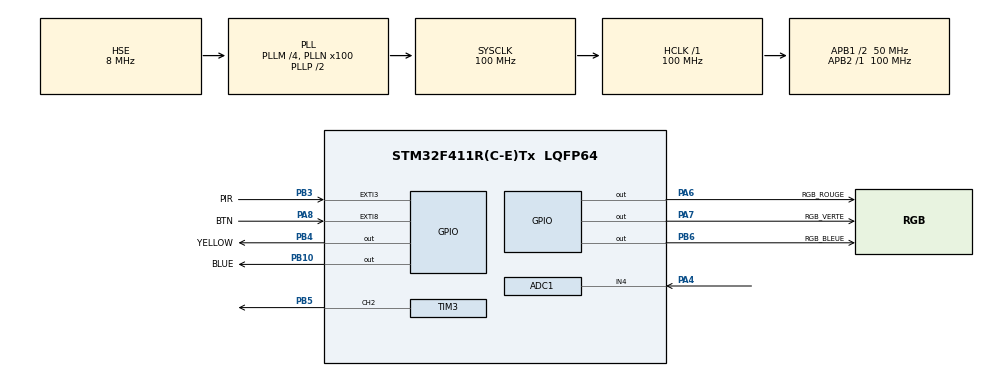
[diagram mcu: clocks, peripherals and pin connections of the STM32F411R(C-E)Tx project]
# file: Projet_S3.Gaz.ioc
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ADC1.Channel-0\#ChannelRegularConversion=ADC_CHANNEL_4
ADC1.ExternalTrigConv=ADC_EXTERNALTRIGCONV_T2_TRGO
ADC1.NbrOfConversionFlag=1
ADC1.Rank-0\#ChannelRegularConversion=1
ADC1.SamplingTime-0\#ChannelRegularConversion=ADC_SAMPLETIME_480CYCLES
ADC1.master=1
Mcu.Family=STM32F4
Mcu.Name=STM32F411R(C-E)Tx
Mcu.Package=LQFP64
NVIC.EXTI3_IRQn=true\:0\:0\:false\:false\:true\:true\:true\:true
NVIC.EXTI9_5_IRQn=true\:0\:0\:false\:false\:true\:true\:true\:true
NVIC.PriorityGroup=NVIC_PRIORITYGROUP_4
NVIC.TIM2_IRQn=true\:0\:0\:false\:false\:true\:true\:true\:true
NVIC.TIM5_IRQn=true\:0\:0\:false\:false\:true\:true\:true\:true
PA13.Mode=Serial_Wire
PA13.Signal=SYS_JTMS-SWDIO
PA14.Mode=Serial_Wire
PA14.Signal=SYS_JTCK-SWCLK
PA4.Signal=ADCx_IN4
PA6.GPIO_Label=RGB_ROUGE
PA6.GPIO_PuPd=GPIO_PULLDOWN
PA6.Signal=GPIO_Output
PA7.GPIO_Label=RGB_VERTE
PA7.GPIO_PuPd=GPIO_PULLDOWN
PA7.Signal=GPIO_Output
PA8.GPIO_Label=BTN
PA8.GPIO_ModeDefaultEXTI=GPIO_MODE_IT_FALLING
PA8.GPIO_PuPd=GPIO_PULLDOWN
PA8.Signal=GPXTI8
PB10.GPIO_Label=BLUE
PB10.Signal=GPIO_Output
PB3.GPIO_Label=PIR
PB3.GPIO_ModeDefaultEXTI=GPIO_MODE_IT_RISING
PB3.GPIO_PuPd=GPIO_PULLDOWN
PB3.Signal=GPXTI3
PB4.GPIO_Label=YELLOW
PB4.GPIO_PuPd=GPIO_PULLDOWN
PB4.Signal=GPIO_Output
PB5.Signal=S_TIM3_CH2
PB6.GPIO_Label=RGB_BLEUE
PB6.GPIO_PuPd=GPIO_PULLDOWN
PB6.Signal=GPIO_Output
PH0\ -\ OSC_IN.Mode=HSE-External-Oscillator
PH0\ -\ OSC_IN.Signal=RCC_OSC_IN
PH1\ -\ OSC_OUT.Mode=HSE-External-Oscillator
PH1\ -\ OSC_OUT.Signal=RCC_OSC_OUT
ProjectManager.HeapSize=0x200
ProjectManager.StackSize=0x400
ProjectManager.TargetToolchain=STM32CubeIDE
RCC.48MHZClocksFreq_Value=50000000
RCC.AHBFreq_Value=100000000
RCC.APB1CLKDivider=RCC_HCLK_DIV2
RCC.APB1Freq_Value=50000000
RCC.APB1TimFreq_Value=100000000
RCC.APB2Freq_Value=100000000
RCC.APB2TimFreq_Value=100000000
RCC.CortexFreq_Value=100000000
RCC.HCLKFreq_Value=100000000
RCC.HSE_VALUE=8000000
RCC.HSI_VALUE=16000000
RCC.LSE_VALUE=32768
RCC.PLLM=4
RCC.PLLN=100
RCC.PLLSourceVirtual=RCC_PLLSOURCE_HSE
RCC.SYSCLKFreq_VALUE=100000000
RCC.SYSCLKSource=RCC_SYSCLKSOURCE_PLLCLK
RCC.VCOOutputFreq_Value=200000000
SH.ADCx_IN4.0=ADC1_IN4,IN4
SH.S_TIM3_CH2.0=TIM3_CH2,PWM Generation2 CH2
TIM2.Period=20000-1
TIM2.Prescaler=10000-1
TIM2.TIM_MasterOutputTrigger=TIM_TRGO_UPDATE
TIM3.Channel-PWM\ Generation2\ CH2=TIM_CHANNEL_2
TIM3.Period=22728
TIM3.Prescaler=10-1
TIM3.Pulse-PWM\ Generation2\ CH2=11364-1
TIM5.Period=500-1
TIM5.Prescaler=10000-1
VP_TIM2_VS_ClockSourceINT.Mode=Internal
VP_TIM3_VS_ClockSourceINT.Mode=Internal
VP_TIM5_VS_ClockSourceINT.Mode=Internal
board=custom

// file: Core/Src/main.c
/* USER CODE BEGIN Header */
/**
  ******************************************************************************
  * @file           : main.c
  * @brief          : Main program body
  ******************************************************************************
  * @attention
  *
  * Copyright (c) 2026 STMicroelectronics.
  * All rights reserved.
  *
  * This software is licensed under terms that can be found in the LICENSE file
  * in the root directory of this software component.
  * If no LICENSE file comes with this software, it is provided AS-IS.
  *
  ******************************************************************************
  */
/* USER CODE END Header */
#include "main.h"
#include "adc.h"
#include "tim.h"
#include "gpio.h"

/* USER CODE BEGIN Includes */
#include "stdbool.h"
/* USER CODE END Includes */

/* USER CODE BEGIN PD */
#define HOME true
#define AWAY false

#define FREQ_TIM5 20
#define FREQ_BLINK_ALARM_GAZ 4
#define FREQ_BLINK_ALARM_INTRUSION 2
#define SEUIL_GAZ 3000

/* USER CODE END PD */

/* USER CODE BEGIN PV */
volatile bool mode = HOME;
volatile bool buzzer = false;
volatile bool falling_edge_detected = false;
volatile bool presence_detectee = false;
volatile bool alarme_gaz = false;
volatile bool alarme_intrusion = false;
volatile bool bouton_appuye = false;
volatile int blink_counter_alarm_gaz = 0;
volatile int blink_counter_alarm_intrusion = 0;
volatile int gaz_value = 0;

/* USER CODE END PV */

void SystemClock_Config(void);

int main(void)
{

  /* MCU Configuration--------------------------------------------------------*/

  /* Reset of all peripherals, Initializes the Flash interface and the Systick. */
  HAL_Init();

  /* Configure the system clock */
  SystemClock_Config();

  /* Initialize all configured peripherals */
  MX_GPIO_Init();
  MX_TIM2_Init();
  MX_TIM3_Init();
  MX_TIM5_Init();
  MX_ADC1_Init();
  /* USER CODE BEGIN 2 */
  HAL_TIM_Base_Start_IT(&htim5);
  HAL_TIM_Base_Start_IT(&htim2);
  HAL_TIM_PWM_Start(&htim3, TIM_CHANNEL_2);
  HAL_ADC_Start(&hadc1);
  /* USER CODE END 2 */

  /* Infinite loop */
  while (1)
  {

    /* USER CODE BEGIN 3 */

	// Machine à état avec HOME et AWAY
	if (mode == HOME) {
		if(bouton_appuye) {
			bouton_appuye = false;
			mode = AWAY;
		}
	}
	if ( mode == AWAY) {
		if(bouton_appuye) {
			bouton_appuye = false;
			mode = HOME;
			alarme_intrusion = false;
			buzzer = false;
			HAL_GPIO_WritePin(YELLOW_GPIO_Port, YELLOW_Pin, 0);
		}
		if (presence_detectee) {
			alarme_intrusion = true;
			presence_detectee = false;
		}
	}

	if (buzzer) {
		HAL_TIM_PWM_Start(&htim3, TIM_CHANNEL_2);
	} else {
		HAL_TIM_PWM_Stop(&htim3, TIM_CHANNEL_2);
	}
  }

  /* USER CODE END 3 */
}

void SystemClock_Config(void)
{
  RCC_OscInitTypeDef RCC_OscInitStruct = {0};
  RCC_ClkInitTypeDef RCC_ClkInitStruct = {0};

  /** Configure the main internal regulator output voltage
  */
  __HAL_RCC_PWR_CLK_ENABLE();
  __HAL_PWR_VOLTAGESCALING_CONFIG(PWR_REGULATOR_VOLTAGE_SCALE1);

  /** Initializes the RCC Oscillators according to the specified parameters
  * in the RCC_OscInitTypeDef structure.
  */
  RCC_OscInitStruct.OscillatorType = RCC_OSCILLATORTYPE_HSE;
  RCC_OscInitStruct.HSEState = RCC_HSE_ON;
  RCC_OscInitStruct.PLL.PLLState = RCC_PLL_ON;
  RCC_OscInitStruct.PLL.PLLSource = RCC_PLLSOURCE_HSE;
  RCC_OscInitStruct.PLL.PLLM = 4;
  RCC_OscInitStruct.PLL.PLLN = 100;
  RCC_OscInitStruct.PLL.PLLP = RCC_PLLP_DIV2;
  RCC_OscInitStruct.PLL.PLLQ = 4;
  if (HAL_RCC_OscConfig(&RCC_OscInitStruct) != HAL_OK)
  {
    Error_Handler();
  }

  /** Initializes the CPU, AHB and APB buses clocks
  */
  RCC_ClkInitStruct.ClockType = RCC_CLOCKTYPE_HCLK|RCC_CLOCKTYPE_SYSCLK
                              |RCC_CLOCKTYPE_PCLK1|RCC_CLOCKTYPE_PCLK2;
  RCC_ClkInitStruct.SYSCLKSource = RCC_SYSCLKSOURCE_PLLCLK;
  RCC_ClkInitStruct.AHBCLKDivider = RCC_SYSCLK_DIV1;
  RCC_ClkInitStruct.APB1CLKDivider = RCC_HCLK_DIV2;
  RCC_ClkInitStruct.APB2CLKDivider = RCC_HCLK_DIV1;

  if (HAL_RCC_ClockConfig(&RCC_ClkInitStruct, FLASH_LATENCY_3) != HAL_OK)
  {
    Error_Handler();
  }
}

/* USER CODE BEGIN 4 */

void debounce_filter() {
	if (falling_edge_detected && !HAL_GPIO_ReadPin(BTN_GPIO_Port, BTN_Pin)) {
		bouton_appuye = true;
		falling_edge_detected = false;
	}
}

void update_cycle_alarme_intrusion() {
	if (alarme_intrusion == true) {
		blink_counter_alarm_intrusion ++;
		if (blink_counter_alarm_intrusion == FREQ_TIM5/(2*FREQ_BLINK_ALARM_INTRUSION)) {
			HAL_GPIO_TogglePin(YELLOW_GPIO_Port, YELLOW_Pin);
			buzzer = !buzzer;
			blink_counter_alarm_intrusion = 0;
		}
	}
}

void update_cycle_alarme_gaz() {
	if (alarme_gaz == true) {
		blink_counter_alarm_gaz ++;
		if (blink_counter_alarm_gaz == FREQ_TIM5/(2*FREQ_BLINK_ALARM_GAZ)) {
			HAL_GPIO_TogglePin(RGB_ROUGE_GPIO_Port, RGB_ROUGE_Pin);
			buzzer = !buzzer;
			blink_counter_alarm_gaz = 0;
		}
	}
}

void update_mesure_gaz() {
	gaz_value = HAL_ADC_GetValue(&hadc1);
	if (gaz_value >= SEUIL_GAZ) {
		alarme_gaz = true;
	} else {
		alarme_gaz = false;
	}
}
// INterruption des GPIO
void HAL_GPIO_EXTI_Callback(uint16_t GPIO_Pin){
	// Bouton avec Debounce
	if (GPIO_Pin == BTN_Pin)
	{
		if (!falling_edge_detected) {
			falling_edge_detected = true;
			__HAL_TIM_SET_COUNTER(&htim5, 0);
		}
	}
	// PIR mouvement détecté
	if (GPIO_Pin == PIR_Pin)
	{
		if (mode == AWAY){
			presence_detectee = true;
		}
	}
}

void HAL_TIM_PeriodElapsedCallback(TIM_HandleTypeDef *htim)
{
	// TIM 5 -> PER = 50ms pour le debounce et compter des periodes de clignotement du buzzer et de la LED d'alarme
	if (htim->Instance == TIM5)
	{
		debounce_filter();
		update_cycle_alarme_gaz();
		update_cycle_alarme_intrusion();

	}
	// TIM 2 -> PER = 4s pour l'échantillonnage des capteurs
	if (htim->Instance == TIM2)
	{
		HAL_GPIO_TogglePin(BLUE_GPIO_Port, BLUE_Pin);
		update_mesure_gaz();
	}
}
/* USER CODE END 4 */

void Error_Handler(void)
{
  __disable_irq();
  while (1)
  {
  }
}
